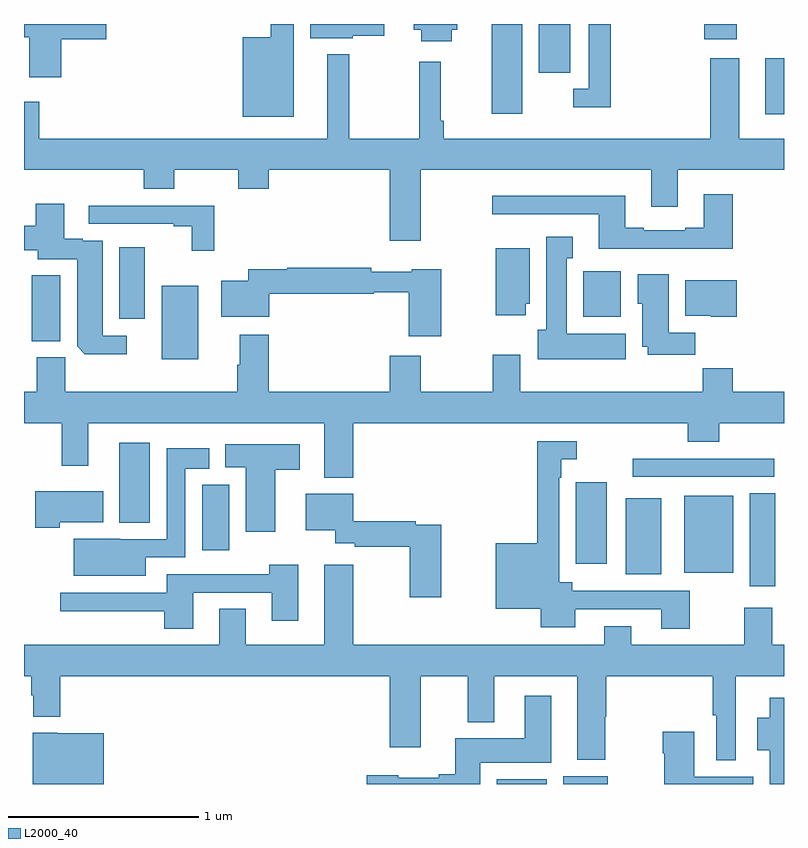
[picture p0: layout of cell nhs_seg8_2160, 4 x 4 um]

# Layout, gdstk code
import gdstk
lib = gdstk.Library(unit=1e-6, precision=1e-09)
def R(c, l, rs):  # rectangles x0, y0, x1, y1
    for r in rs: c.add(gdstk.rectangle(r[:2], r[2:], *l))
def P(c, l, *ps):  # polygons
    for p in ps: c.add(gdstk.Polygon(p, *l))
L2000_40 = (2000, 40)

nhs_seg8_2160 = lib.new_cell('nhs_seg8_2160')
R(nhs_seg8_2160, L2000_40, [(249.488,1147.9,249.751,1147.924), (249.839,1147.9,250.072,1147.942), (250.82,1148.94,250.954,1149.431), (250.166,1149.005,250.354,1149.403), (250.475,1149.011,250.732,1149.418), (249.905,1149.06,250.066,1149.487), (247.937,1149.129,248.08,1149.475), (247.502,1149.275,247.663,1149.697), (250.203,1149.516,250.948,1149.612), (247.724,1150.136,247.918,1150.522), (247.04,1150.231,247.192,1150.577), (247.502,1150.35,247.636,1150.726), (249.944,1150.358,250.141,1150.6), (250.901,1151.424,251,1151.719), (249.461,1151.427,249.622,1151.9), (249.71,1151.643,249.874,1151.9), (250.58,1151.819,250.75,1151.9)])
P(nhs_seg8_2160, L2000_40, [(247.196,1151.819),(247.433,1151.819),(247.433,1151.9),(247,1151.9),(247,1151.83),(247.028,1151.83),(247.028,1151.619),(247.196,1151.619)],
  [(248.419,1151.9),(248.298,1151.9),(248.298,1151.83),(248.15,1151.83),(248.15,1151.411),(248.419,1151.411)],
  [(249.25,1151.87),(249.28,1151.87),(249.28,1151.9),(249.05,1151.9),(249.05,1151.87),(249.092,1151.87),(249.092,1151.81),(249.25,1151.81)],
  [(250.088,1151.9),(249.972,1151.9),(249.972,1151.559),(249.891,1151.559),(249.891,1151.462),(250.088,1151.462)],
  [(248.73,1151.837),(248.896,1151.837),(248.896,1151.9),(248.507,1151.9),(248.507,1151.825),(248.73,1151.825)],
  [(249.088,1151.132),(250.301,1151.132),(250.301,1150.938),(250.441,1150.938),(250.441,1151.132),(251,1151.132),(251,1151.296),(250.765,1151.296),(250.765,1151.719),(250.613,1151.719),(250.613,1151.296),(249.209,1151.296),(249.209,1151.392),(249.194,1151.392),(249.194,1151.701),(249.081,1151.701),(249.081,1151.296),(248.711,1151.296),(248.711,1151.74),(248.597,1151.74),(248.597,1151.296),(247.079,1151.296),(247.079,1151.491),(247,1151.491),(247,1151.132),(247.631,1151.132),(247.631,1151.033),(247.791,1151.033),(247.791,1151.132),(248.128,1151.132),(248.128,1151.033),(248.288,1151.033),(248.288,1151.132),(248.924,1151.132),(248.924,1150.758),(249.088,1150.758)],
  [(250.73,1151.005),(250.577,1151.005),(250.577,1150.828),(250.481,1150.828),(250.481,1150.815),(250.261,1150.815),(250.261,1150.828),(250.165,1150.828),(250.165,1150.996),(249.465,1150.996),(249.465,1150.899),(250.025,1150.899),(250.025,1150.718),(250.73,1150.718)],
  [(247.54,1150.26),(247.414,1150.26),(247.414,1150.758),(247.31,1150.758),(247.31,1150.771),(247.213,1150.771),(247.213,1150.954),(247.061,1150.954),(247.061,1150.839),(247,1150.839),(247,1150.709),(247.073,1150.709),(247.073,1150.662),(247.28,1150.662),(247.28,1150.204),(247.321,1150.163),(247.54,1150.163)],
  [(248,1150.944),(247.341,1150.944),(247.341,1150.848),(247.787,1150.848),(247.787,1150.836),(247.882,1150.836),(247.882,1150.707),(248,1150.707)],
  [(250.168,1150.27),(249.856,1150.27),(249.856,1150.667),(249.889,1150.667),(249.889,1150.78),(249.749,1150.78),(249.749,1150.29),(249.704,1150.29),(249.704,1150.136),(250.168,1150.136)],
  [(249.64,1150.428),(249.661,1150.428),(249.661,1150.72),(249.482,1150.72),(249.482,1150.368),(249.64,1150.368)],
  [(249.196,1150.609),(249.042,1150.609),(249.042,1150.597),(248.828,1150.597),(248.828,1150.616),(248.386,1150.616),(248.386,1150.609),(248.18,1150.609),(248.18,1150.549),(248.039,1150.549),(248.039,1150.358),(248.29,1150.358),(248.29,1150.48),(248.842,1150.48),(248.842,1150.488),(249.026,1150.488),(249.026,1150.257),(249.196,1150.257)],
  [(250.532,1150.276),(250.393,1150.276),(250.393,1150.582),(250.229,1150.582),(250.229,1150.428),(250.253,1150.428),(250.253,1150.202),(250.283,1150.202),(250.283,1150.158),(250.532,1150.158)],
  [(250.75,1150.552),(250.481,1150.552),(250.481,1150.364),(250.614,1150.364),(250.614,1150.358),(250.75,1150.358)],
  [(248.732,1149.8),(250.493,1149.8),(250.493,1149.701),(250.658,1149.701),(250.658,1149.8),(251,1149.8),(251,1149.964),(250.73,1149.964),(250.73,1150.088),(250.573,1150.088),(250.573,1149.964),(249.613,1149.964),(249.613,1150.159),(249.466,1150.159),(249.466,1149.964),(249.088,1149.964),(249.088,1150.153),(248.924,1150.153),(248.924,1149.964),(248.288,1149.964),(248.288,1150.264),(248.135,1150.264),(248.135,1150.106),(248.123,1150.106),(248.123,1149.964),(247.217,1149.964),(247.217,1150.146),(247.067,1150.146),(247.067,1149.964),(247,1149.964),(247,1149.8),(247.199,1149.8),(247.199,1149.576),(247.339,1149.576),(247.339,1149.8),(248.579,1149.8),(248.579,1149.512),(248.732,1149.512)],
  [(250.503,1148.916),(249.886,1148.916),(249.886,1148.962),(249.816,1148.962),(249.816,1149.512),(249.828,1149.512),(249.828,1149.609),(249.91,1149.609),(249.91,1149.705),(249.7,1149.705),(249.7,1149.166),(249.482,1149.166),(249.482,1148.822),(249.719,1148.822),(249.719,1148.726),(249.901,1148.726),(249.901,1148.82),(250.355,1148.82),(250.355,1148.718),(250.503,1148.718)],
  [(248.323,1149.554),(248.452,1149.554),(248.452,1149.688),(248.06,1149.688),(248.06,1149.566),(248.168,1149.566),(248.168,1149.228),(248.323,1149.228)],
  [(247.642,1149.093),(247.848,1149.093),(247.848,1149.56),(247.975,1149.56),(247.975,1149.667),(247.752,1149.667),(247.752,1149.189),(247.506,1149.189),(247.506,1149.19),(247.262,1149.19),(247.262,1148.996),(247.642,1148.996)],
  [(247.188,1149.278),(247.417,1149.278),(247.417,1149.442),(247.058,1149.442),(247.058,1149.248),(247.188,1149.248)],
  [(249.196,1149.264),(249.062,1149.264),(249.062,1149.284),(248.733,1149.284),(248.733,1149.427),(248.483,1149.427),(248.483,1149.236),(248.637,1149.236),(248.637,1149.168),(248.74,1149.168),(248.74,1149.148),(249.031,1149.148),(249.031,1148.883),(249.196,1148.883)],
  [(247.891,1148.907),(248.303,1148.907),(248.303,1148.76),(248.443,1148.76),(248.443,1149.055),(248.291,1149.055),(248.291,1149.003),(247.751,1149.003),(247.751,1148.907),(247.191,1148.907),(247.191,1148.81),(247.739,1148.81),(247.739,1148.718),(247.891,1148.718)],
  [(250.747,1148.468),(251,1148.468),(251,1148.632),(250.939,1148.632),(250.939,1148.827),(250.792,1148.827),(250.792,1148.632),(250.195,1148.632),(250.195,1148.731),(250.055,1148.731),(250.055,1148.632),(248.732,1148.632),(248.732,1149.055),(248.579,1149.055),(248.579,1148.632),(248.167,1148.632),(248.167,1148.822),(248.027,1148.822),(248.027,1148.632),(247,1148.632),(247,1148.468),(247.037,1148.468),(247.037,1148.367),(247.049,1148.367),(247.049,1148.255),(247.19,1148.255),(247.19,1148.468),(248.924,1148.468),(248.924,1148.094),(249.088,1148.094),(249.088,1148.468),(249.335,1148.468),(249.335,1148.225),(249.475,1148.225),(249.475,1148.468),(249.911,1148.468),(249.911,1148.027),(250.059,1148.027),(250.059,1148.253),(250.064,1148.253),(250.064,1148.468),(250.626,1148.468),(250.626,1148.263),(250.643,1148.263),(250.643,1148.024),(250.747,1148.024)],
  [(249.4,1148.012),(249.775,1148.012),(249.775,1148.365),(249.635,1148.365),(249.635,1148.14),(249.271,1148.14),(249.271,1147.952),(249.182,1147.952),(249.182,1147.933),(248.97,1147.933),(248.97,1147.945),(248.804,1147.945),(248.804,1147.9),(249.4,1147.9)],
  [(251,1148.353),(250.925,1148.353),(250.925,1148.248),(250.859,1148.248),(250.859,1148.078),(250.925,1148.078),(250.925,1147.9),(251,1147.9)],
  [(250.837,1147.939),(250.528,1147.939),(250.528,1148.176),(250.363,1148.176),(250.363,1148.063),(250.37,1148.063),(250.37,1147.9),(250.837,1147.9)],
  [(247.42,1148.167),(247.176,1148.167),(247.176,1148.17),(247.046,1148.17),(247.046,1147.9),(247.42,1147.9)])

lib.write_gds('nhs_seg8_2160.gds')
